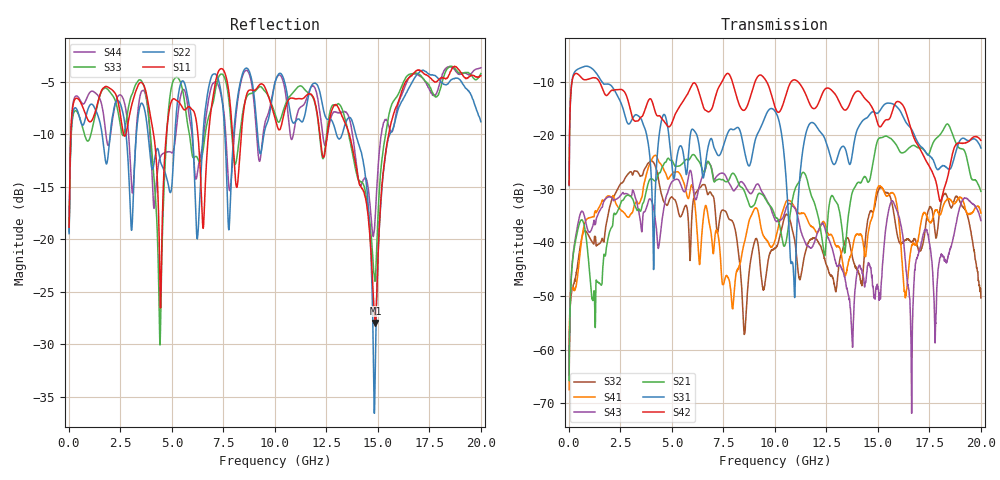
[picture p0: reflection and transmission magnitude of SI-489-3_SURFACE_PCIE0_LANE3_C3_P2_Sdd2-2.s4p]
! S11 = S11
! S12 = S12
! S13 = S13
! S14 = S14
! S21 = S21
! S22 = S22
! S23 = S23
! S24 = S24
! S31 = S31
! S32 = S32
! S33 = S33
! S34 = S34
! S41 = S41
! S42 = S42
! S43 = S43
! S44 = S44
! FILE: E:\Projects\06_2015\060415_VNA_EOS_MUX_EVAL\SI-489-2_EOS_MUX_EVAL_A0_B0_SEL=1.s4p
!$DUT_CFG_DESC: Default 4-Port Configuration
!$NUMBER_PORTS: 4
!$DIFF_PORT_MAP: 1|2P|2|2P|0|UC|0|UC|
!$PORT_MAP: 1|1|<<<<<<|2|2|>>>>>>|3|3|<<<<<<|4|4|>>>>>>|
# MHz S RI R 50.00
! FREQ  S11  S12  S13  S14
!  S21  S22  S23  S24
!  S31  S32  S33  S34
!  S41  S42  S43  S44
!  REAL  IMAG  REAL  IMAG  REAL  IMAG  REAL  IMAG
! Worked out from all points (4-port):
!   2000 points, 10 MHz to 20 GHz, reference 50 ohm
!   strongest paths, dB at 10 MHz, 5.01 GHz, 10.01 GHz, 15.01 GHz, 20 GHz:
!     S42: -29.3, -17.6, -14.8, -18.0, -20.9
!     S31: -29.4, -26.0, -15.5, -15.8, -22.4
!     S21: -65.8, -24.7, -35.1, -20.8, -30.5
!     S43: -64.8, -28.6, -35.8, -48.7, -35.9
!     S41: -67.5, -27.2, -39.6, -29.7, -34.5
!     S32: -62.4, -31.5, -41.1, -30.4, -50.4
!   lowest |S11| = -28.0 dB at 14.88 GHz (marker M1), VSWR 1.08, Z = 52.1 - j3.47 ohm
!   |S11| at or under -10 dB: 4.111 GHz to 4.731 GHz (620.5 MHz wide, 14 % of centre); 6.26 GHz to 6.777 GHz (516.3 MHz wide, 7.92 % of centre); 13.61 GHz to 15.52 GHz (1.91 GHz wide, 13.1 % of centre)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
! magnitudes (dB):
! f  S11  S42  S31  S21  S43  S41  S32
! 10 MHz  -18.9  -29.3  -29.4  -65.8  -64.8  -67.5  -62.4
! 590 MHz  -7.1  -9.2  -7.4  -35.8  -34.3  -40.3  -39.8
! 6.77 GHz  -10.1  -15.6  -22.0  -24.9  -25.0  -35.4  -31.0
! 10.01 GHz  -8.5  -14.8  -15.5  -35.1  -35.8  -39.6  -41.1
! 10.91 GHz  -6.6  -9.6  -46.0  -31.0  -33.4  -33.1  -38.6
! 14.88 GHz  -28.0  -16.3  -15.8  -22.6  -49.8  -31.7  -32.6
! 20 GHz  -4.4  -20.9  -22.4  -30.5  -35.9  -34.5  -50.4
